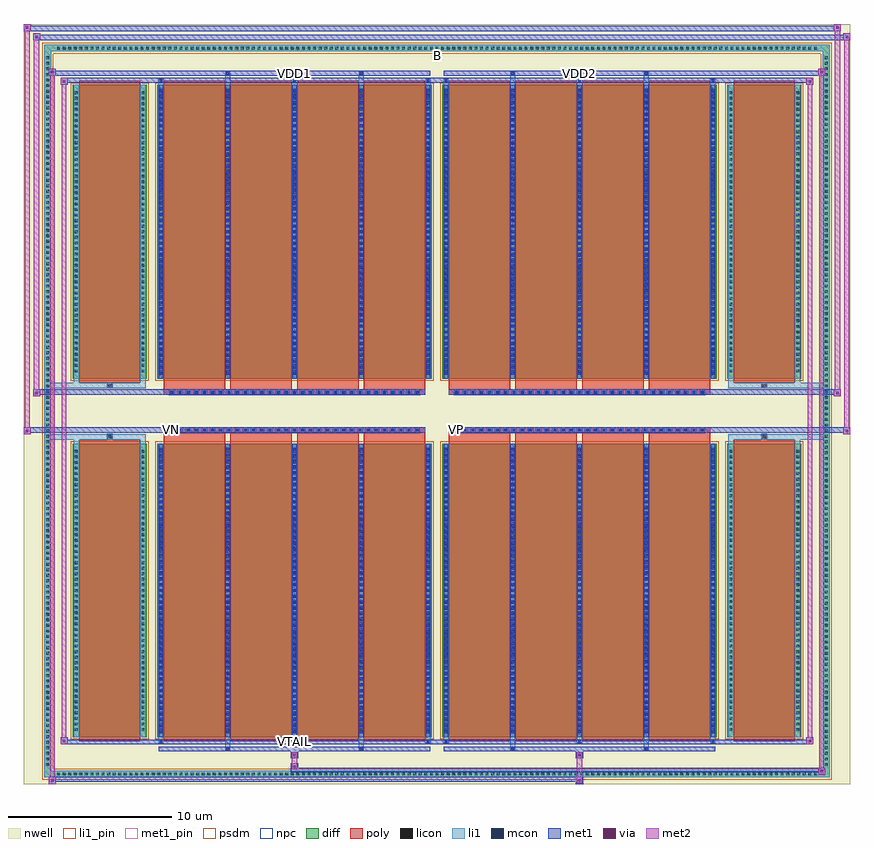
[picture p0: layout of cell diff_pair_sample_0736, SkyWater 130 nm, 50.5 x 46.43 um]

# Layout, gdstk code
import gdstk
lib = gdstk.Library(unit=1e-6, precision=5e-09)
def R(c, l, rs):  # rectangles x0, y0, x1, y1
    for r in rs: c.add(gdstk.rectangle(r[:2], r[2:], *l))
def A(c, l, x, y, w, h, nx, ny, dx, dy):  # array of equal rectangles
    R(c, l, [(x+i*dx, y+j*dy, x+i*dx+w, y+j*dy+h) for i in range(nx) for j in range(ny)])
def P(c, l, *ps):  # polygons
    for p in ps: c.add(gdstk.Polygon(p, *l))
nwell = (64, 20)
diff = (65, 20)
poly = (66, 20)
licon = (66, 44)
li1_pin = (67, 16)
li1 = (67, 20)
mcon = (67, 44)
met1_pin = (68, 16)
met1 = (68, 20)
via = (68, 44)
met2 = (69, 20)
psdm = (94, 20)
npc = (95, 20)

diff_pair_sample_0736 = lib.new_cell('diff_pair_sample_0736')
R(diff_pair_sample_0736, nwell, [(-25.25,-22.78,25.25,23.65), (-22.57,-20.97,-0.01,-0.795), (0.01,-20.97,22.57,-0.795), (-22.57,0.795,-0.01,20.97), (0.01,0.795,22.57,20.97)])
A(diff_pair_sample_0736, diff, -23.325, -22.38, 0.41, 0.41, 137, 2, 0.34, 44.35)
A(diff_pair_sample_0736, diff, -23.98, -21.795, 0.41, 0.41, 1, 128, 0, 0.34)
A(diff_pair_sample_0736, diff, 23.57, -21.795, 0.41, 0.41, 1, 128, 0, 0.34)
R(diff_pair_sample_0736, diff, [(-23.325,-22.38,23.325,-21.97), (-23.98,-21.795,-23.57,21.795), (23.57,-21.795,23.98,21.795), (-22.26,-19.925,-17.73,-1.985), (-17.09,-19.925,-0.32,-1.985), (0.32,-19.925,17.09,-1.985), (17.73,-19.925,22.26,-1.985), (-22.26,1.985,-17.73,19.925), (-17.09,1.985,-0.32,19.925), (0.32,1.985,17.09,19.925), (17.73,1.985,22.26,19.925), (-23.325,21.97,23.325,22.38)])
P(diff_pair_sample_0736, diff, [(23.98,22.38),(-23.98,22.38),(-23.98,-21.97),(-23.57,-21.97),(-23.57,21.97),(23.57,21.97),(23.57,-21.97),(-23.57,-21.97),(-23.98,-21.97),(-23.98,-22.38),(23.98,-22.38)])
A(diff_pair_sample_0736, poly, -16.7, -20.175, 3.75, 18.44, 4, 2, 4.08, 21.91)
A(diff_pair_sample_0736, poly, 0.71, -20.175, 3.75, 18.44, 4, 2, 4.08, 21.91)
A(diff_pair_sample_0736, poly, -16.7, -1.735, 3.75, 0.41, 4, 2, 4.08, 3.06)
A(diff_pair_sample_0736, poly, 0.71, -1.735, 3.75, 0.41, 4, 2, 4.08, 3.06)
A(diff_pair_sample_0736, poly, -16.37, -1.325, 0.33, 0.33, 31, 2, 0.5, 2.32)
A(diff_pair_sample_0736, poly, 1.04, -1.325, 0.33, 0.33, 31, 2, 0.5, 2.32)
R(diff_pair_sample_0736, poly, [(-21.87,-20.175,-18.12,-1.735), (18.12,-20.175,21.87,-1.735), (-20.16,-1.735,-19.83,-1.405), (-20.16,-1.735,-19.83,-1.405), (19.83,-1.735,20.16,-1.405), (19.83,-1.735,20.16,-1.405), (-16.7,-1.325,-0.71,-0.995), (0.71,-1.325,16.7,-0.995), (-16.7,0.995,-0.71,1.325), (0.71,0.995,16.7,1.325), (-20.16,1.405,-19.83,1.735), (-20.16,1.405,-19.83,1.735), (19.83,1.405,20.16,1.735), (19.83,1.405,20.16,1.735), (-21.87,1.735,-18.12,20.175), (18.12,1.735,21.87,20.175)])
A(diff_pair_sample_0736, licon, -23.205, -22.26, 0.17, 0.17, 137, 2, 0.34, 44.35)
A(diff_pair_sample_0736, licon, -23.86, -21.675, 0.17, 0.17, 1, 128, 0, 0.34)
A(diff_pair_sample_0736, licon, 23.69, -21.675, 0.17, 0.17, 1, 128, 0, 0.34)
A(diff_pair_sample_0736, licon, -22.12, -19.54, 0.17, 0.17, 1, 51, 0, 0.34)
A(diff_pair_sample_0736, licon, -18.04, -19.54, 0.17, 0.17, 1, 51, 0, 0.34)
A(diff_pair_sample_0736, licon, -16.95, -19.54, 0.17, 0.17, 5, 51, 4.08, 0.34)
A(diff_pair_sample_0736, licon, 0.46, -19.54, 0.17, 0.17, 5, 51, 4.08, 0.34)
A(diff_pair_sample_0736, licon, 17.87, -19.54, 0.17, 0.17, 1, 51, 0, 0.34)
A(diff_pair_sample_0736, licon, 21.95, -19.54, 0.17, 0.17, 1, 51, 0, 0.34)
A(diff_pair_sample_0736, licon, -16.29, -1.245, 0.17, 0.17, 31, 2, 0.5, 2.32)
A(diff_pair_sample_0736, licon, 1.12, -1.245, 0.17, 0.17, 31, 2, 0.5, 2.32)
A(diff_pair_sample_0736, licon, -22.12, 2.37, 0.17, 0.17, 1, 51, 0, 0.34)
A(diff_pair_sample_0736, licon, -18.04, 2.37, 0.17, 0.17, 1, 51, 0, 0.34)
A(diff_pair_sample_0736, licon, -16.95, 2.37, 0.17, 0.17, 5, 51, 4.08, 0.34)
A(diff_pair_sample_0736, licon, 0.46, 2.37, 0.17, 0.17, 5, 51, 4.08, 0.34)
A(diff_pair_sample_0736, licon, 17.87, 2.37, 0.17, 0.17, 1, 51, 0, 0.34)
A(diff_pair_sample_0736, licon, 21.95, 2.37, 0.17, 0.17, 1, 51, 0, 0.34)
R(diff_pair_sample_0736, licon, [(-20.08,-1.655,-19.91,-1.485), (19.91,-1.655,20.08,-1.485), (-20.08,1.485,-19.91,1.655), (19.91,1.485,20.08,1.655)])
R(diff_pair_sample_0736, li1_pin, [(-0.25,21.47,0.25,21.97)])
A(diff_pair_sample_0736, li1, -23.285, -22.34, 0.33, 0.33, 137, 2, 0.34, 44.35)
A(diff_pair_sample_0736, li1, -23.94, -21.755, 0.33, 0.33, 1, 128, 0, 0.34)
A(diff_pair_sample_0736, li1, 23.61, -21.755, 0.33, 0.33, 1, 128, 0, 0.34)
A(diff_pair_sample_0736, li1, -17.03, -20.3, 0.33, 0.375, 3, 2, 8.16, 40.225)
A(diff_pair_sample_0736, li1, -16.95, -20.3, 0.17, 0.17, 3, 2, 8.16, 40.43)
A(diff_pair_sample_0736, li1, 0.38, -20.3, 0.33, 0.375, 3, 2, 8.16, 40.225)
A(diff_pair_sample_0736, li1, 0.46, -20.3, 0.17, 0.17, 3, 2, 8.16, 40.43)
A(diff_pair_sample_0736, li1, -17.03, -19.925, 0.33, 17.94, 5, 2, 4.08, 21.91)
A(diff_pair_sample_0736, li1, 0.38, -19.925, 0.33, 17.94, 5, 2, 4.08, 21.91)
A(diff_pair_sample_0736, li1, -16.95, -19.68, 0.17, 0.17, 5, 49, 4.08, 0.36)
A(diff_pair_sample_0736, li1, -16.95, -19.68, 0.17, 17.45, 5, 2, 4.08, 21.91)
A(diff_pair_sample_0736, li1, 0.46, -19.68, 0.17, 0.17, 5, 49, 4.08, 0.36)
A(diff_pair_sample_0736, li1, 0.46, -19.68, 0.17, 17.45, 5, 2, 4.08, 21.91)
A(diff_pair_sample_0736, li1, -22.2, -19.62, 0.33, 0.33, 1, 51, 0, 0.34)
A(diff_pair_sample_0736, li1, -18.12, -19.62, 0.33, 0.33, 1, 51, 0, 0.34)
A(diff_pair_sample_0736, li1, -17.03, -19.62, 0.33, 0.33, 5, 51, 4.08, 0.34)
A(diff_pair_sample_0736, li1, 0.38, -19.62, 0.33, 0.33, 5, 51, 4.08, 0.34)
A(diff_pair_sample_0736, li1, 17.79, -19.62, 0.33, 0.33, 1, 51, 0, 0.34)
A(diff_pair_sample_0736, li1, 21.87, -19.62, 0.33, 0.33, 1, 51, 0, 0.34)
A(diff_pair_sample_0736, li1, -16.37, -1.325, 0.33, 0.33, 31, 2, 0.5, 2.32)
A(diff_pair_sample_0736, li1, 1.04, -1.325, 0.33, 0.33, 31, 2, 0.5, 2.32)
A(diff_pair_sample_0736, li1, -16.95, 2.23, 0.17, 0.17, 5, 49, 4.08, 0.36)
A(diff_pair_sample_0736, li1, 0.46, 2.23, 0.17, 0.17, 5, 49, 4.08, 0.36)
A(diff_pair_sample_0736, li1, -22.2, 2.29, 0.33, 0.33, 1, 51, 0, 0.34)
A(diff_pair_sample_0736, li1, -18.12, 2.29, 0.33, 0.33, 1, 51, 0, 0.34)
A(diff_pair_sample_0736, li1, -17.03, 2.29, 0.33, 0.33, 5, 51, 4.08, 0.34)
A(diff_pair_sample_0736, li1, 0.38, 2.29, 0.33, 0.33, 5, 51, 4.08, 0.34)
A(diff_pair_sample_0736, li1, 17.79, 2.29, 0.33, 0.33, 1, 51, 0, 0.34)
A(diff_pair_sample_0736, li1, 21.87, 2.29, 0.33, 0.33, 1, 51, 0, 0.34)
R(diff_pair_sample_0736, li1, [(-23.98,-22.38,-23.57,-21.97), (-23.98,-22.38,-23.57,-21.97), (-23.57,-22.38,23.57,-21.97), (23.57,-22.38,23.98,-21.97), (23.57,-22.38,23.98,-21.97), (-23.98,-21.97,-23.57,21.97), (23.57,-21.97,23.98,21.97), (-12.95,-20.73,-12.62,-19.925), (-12.87,-20.73,-12.7,-20.56), (-4.79,-20.73,-4.46,-19.925), (-4.71,-20.73,-4.54,-20.56), (4.46,-20.73,4.79,-19.925), (4.54,-20.73,4.71,-20.56), (12.62,-20.73,12.95,-19.925), (12.7,-20.73,12.87,-20.56), (-22.2,-19.925,-21.87,-1.985), (-18.12,-19.925,-17.79,-1.985), (17.79,-19.925,18.12,-1.985), (21.87,-19.925,22.2,-1.985), (-22.2,-1.985,-21.87,-1.405), (-18.12,-1.985,-17.79,-1.405), (17.79,-1.985,18.12,-1.405), (21.87,-1.985,22.2,-1.405), (-23.98,-1.735,-20.16,-1.405), (-22.2,-1.735,-20.16,-1.405), (-20.16,-1.735,-19.83,-1.405), (-19.83,-1.735,-17.79,-1.405), (17.79,-1.735,19.83,-1.405), (19.83,-1.735,20.16,-1.405), (19.83,-1.735,23.98,-1.405), (20.16,-1.735,22.2,-1.405), (-23.98,1.405,-20.16,1.735), (-22.2,1.405,-20.16,1.735), (-22.2,1.405,-21.87,1.985), (-20.16,1.405,-19.83,1.735), (-19.83,1.405,-17.79,1.735), (-18.12,1.405,-17.79,1.985), (17.79,1.405,19.83,1.735), (17.79,1.405,18.12,1.985), (19.83,1.405,20.16,1.735), (19.83,1.405,23.98,1.735), (20.16,1.405,22.2,1.735), (21.87,1.405,22.2,1.985), (-22.2,1.985,-21.87,19.925), (-18.12,1.985,-17.79,19.925), (17.79,1.985,18.12,19.925), (21.87,1.985,22.2,19.925), (-12.95,19.925,-12.62,20.73), (-4.79,19.925,-4.46,20.73), (4.46,19.925,4.79,20.73), (12.62,19.925,12.95,20.73), (-12.87,20.56,-12.7,20.73), (-4.71,20.56,-4.54,20.73), (4.54,20.56,4.71,20.73), (12.7,20.56,12.87,20.73), (-23.98,21.97,-23.57,22.38), (-23.98,21.97,-23.57,22.38), (-23.57,21.97,23.57,22.38), (23.57,21.97,23.98,22.38), (23.57,21.97,23.98,22.38)])
A(diff_pair_sample_0736, mcon, -16.95, -20.3, 0.17, 0.17, 3, 2, 8.16, 40.43)
A(diff_pair_sample_0736, mcon, 0.46, -20.3, 0.17, 0.17, 3, 2, 8.16, 40.43)
A(diff_pair_sample_0736, mcon, -16.95, -19.68, 0.17, 0.17, 5, 49, 4.08, 0.36)
A(diff_pair_sample_0736, mcon, 0.46, -19.68, 0.17, 0.17, 5, 49, 4.08, 0.36)
A(diff_pair_sample_0736, mcon, -16.29, -1.245, 0.17, 0.17, 31, 2, 0.5, 2.32)
A(diff_pair_sample_0736, mcon, 1.12, -1.245, 0.17, 0.17, 31, 2, 0.5, 2.32)
A(diff_pair_sample_0736, mcon, -16.95, 2.23, 0.17, 0.17, 5, 49, 4.08, 0.36)
A(diff_pair_sample_0736, mcon, 0.46, 2.23, 0.17, 0.17, 5, 49, 4.08, 0.36)
R(diff_pair_sample_0736, mcon, [(-12.87,-20.73,-12.7,-20.56), (-4.71,-20.73,-4.54,-20.56), (4.54,-20.73,4.71,-20.56), (12.7,-20.73,12.87,-20.56), (-12.87,20.56,-12.7,20.73), (-4.71,20.56,-4.54,20.73), (4.54,20.56,4.71,20.73), (12.7,20.56,12.87,20.73)])
R(diff_pair_sample_0736, met1_pin, [(-8.84,-20.34,-8.57,-20.07), (-16.34,-1.285,-16.07,-1.015), (1.07,-1.285,1.34,-1.015), (-8.84,20.52,-8.57,20.79), (8.57,20.52,8.84,20.79)])
A(diff_pair_sample_0736, met1, -17.01, -20.36, 0.29, 0.29, 3, 2, 8.16, 40.43)
A(diff_pair_sample_0736, met1, 0.4, -20.36, 0.29, 0.29, 3, 2, 8.16, 40.43)
A(diff_pair_sample_0736, met1, -17.01, -19.925, 0.29, 17.94, 5, 2, 4.08, 21.91)
A(diff_pair_sample_0736, met1, 0.4, -19.925, 0.29, 17.94, 5, 2, 4.08, 21.91)
A(diff_pair_sample_0736, met1, -17.01, -19.74, 0.29, 0.29, 5, 49, 4.08, 0.36)
A(diff_pair_sample_0736, met1, 0.4, -19.74, 0.29, 0.29, 5, 49, 4.08, 0.36)
A(diff_pair_sample_0736, met1, -16.35, -1.305, 0.29, 0.29, 31, 2, 0.5, 2.32)
A(diff_pair_sample_0736, met1, 1.06, -1.305, 0.29, 0.29, 31, 2, 0.5, 2.32)
A(diff_pair_sample_0736, met1, -17.01, 2.17, 0.29, 0.29, 5, 49, 4.08, 0.36)
A(diff_pair_sample_0736, met1, 0.4, 2.17, 0.29, 0.29, 5, 49, 4.08, 0.36)
R(diff_pair_sample_0736, met1, [(-23.71,-22.78,-23.28,-22.35), (8.49,-22.78,8.92,-22.35), (-23.71,-22.64,8.92,-22.35), (23.28,-22.21,23.71,-21.78), (-8.92,-22.07,23.71,-21.78), (-8.92,-21.93,-8.49,-21.5), (-8.92,-21.22,-8.49,-20.79), (8.49,-21.22,8.92,-20.79), (-17.01,-20.79,-0.4,-20.5), (-12.93,-20.79,-12.64,-20.5), (-4.77,-20.79,-4.48,-20.5), (0.4,-20.79,17.01,-20.5), (4.48,-20.79,4.77,-20.5), (12.64,-20.79,12.93,-20.5), (-23,-20.36,-22.57,-19.93), (-23,-20.36,-17.01,-20.07), (-17.01,-20.36,-0.4,-20.07), (-0.4,-20.36,0.4,-20.07), (0.4,-20.36,17.01,-20.07), (17.01,-20.36,23,-20.07), (22.57,-20.36,23,-19.93), (-25.25,-1.425,-24.82,-0.995), (24.82,-1.425,25.25,-0.995), (-25.25,-1.325,-0.71,-0.995), (-16.7,-1.325,-0.71,-0.995), (0.71,-1.325,16.7,-0.995), (0.71,-1.325,25.25,-0.995), (-24.68,0.895,-24.25,1.325), (24.25,0.895,24.68,1.325), (-24.68,0.995,-16.7,1.325), (-16.7,0.995,-0.71,1.325), (0.71,0.995,16.7,1.325), (16.7,0.995,24.68,1.325), (-23,19.93,-22.57,20.36), (22.57,19.93,23,20.36), (-23,20.07,-17.01,20.36), (-17.01,20.07,-0.4,20.36), (-0.4,20.07,0.4,20.36), (0.4,20.07,17.01,20.36), (17.01,20.07,23,20.36), (-23.71,20.5,-23.28,20.93), (-23.71,20.5,-17.01,20.79), (-17.01,20.5,-0.4,20.79), (-12.93,20.5,-12.64,20.79), (-4.77,20.5,-4.48,20.79), (0.4,20.5,17.01,20.79), (4.48,20.5,4.77,20.79), (12.64,20.5,12.93,20.79), (17.01,20.5,23.71,20.79), (23.28,20.5,23.71,20.93), (-24.68,22.65,-24.25,23.08), (-24.68,22.65,-22.57,22.98), (-22.57,22.65,22.57,22.98), (22.57,22.65,25.25,22.98), (24.82,22.65,25.25,23.08), (-25.25,23.22,-24.82,23.65), (-25.25,23.22,-22.57,23.55), (-22.57,23.22,22.57,23.55), (22.57,23.22,24.68,23.55), (24.25,23.22,24.68,23.65)])
R(diff_pair_sample_0736, via, [(-23.57,-22.64,-23.42,-22.49), (8.63,-22.64,8.78,-22.49), (23.42,-22.07,23.57,-21.92), (-8.78,-21.79,-8.63,-21.64), (-8.78,-21.08,-8.63,-20.93), (8.63,-21.08,8.78,-20.93), (-22.86,-20.22,-22.71,-20.07), (22.71,-20.22,22.86,-20.07), (-25.11,-1.285,-24.96,-1.135), (24.96,-1.285,25.11,-1.135), (-24.54,1.035,-24.39,1.185), (24.39,1.035,24.54,1.185), (-22.86,20.07,-22.71,20.22), (22.71,20.07,22.86,20.22), (-23.57,20.64,-23.42,20.79), (23.42,20.64,23.57,20.79), (-24.54,22.79,-24.39,22.94), (24.96,22.79,25.11,22.94), (-25.11,23.36,-24.96,23.51), (24.39,23.36,24.54,23.51)])
R(diff_pair_sample_0736, met2, [(-23.71,-22.78,-23.28,-22.35), (-23.64,-22.78,-23.35,20.93), (-23.35,-22.78,-23.28,-22.35), (-23.66,-22.73,-23.33,-22.4), (8.54,-22.73,8.87,-22.4), (8.54,-22.4,8.87,-21.17), (23.28,-22.21,23.71,-21.78), (23.35,-22.21,23.64,20.93), (23.64,-22.21,23.71,-21.78), (23.33,-22.16,23.66,-21.83), (-8.87,-21.88,-8.54,-21.55), (-8.87,-21.55,-8.54,-21.17), (-8.87,-21.17,-8.54,-20.84), (8.54,-21.17,8.87,-20.84), (-23,-20.36,-22.57,-19.93), (-22.93,-20.36,-22.64,20.36), (-22.64,-20.36,-22.57,-19.93), (22.57,-20.36,23,-19.93), (22.64,-20.36,22.93,20.36), (22.93,-20.36,23,-19.93), (-22.95,-20.31,-22.62,-19.98), (22.62,-20.31,22.95,-19.98), (-25.25,-1.425,-24.82,-0.995), (-25.2,-1.425,-24.87,23.65), (-24.87,-1.425,-24.82,-0.995), (24.82,-1.425,25.25,-0.995), (24.87,-1.425,25.2,23.08), (25.2,-1.425,25.25,-0.995), (-25.2,-1.375,-24.87,-1.045), (24.87,-1.375,25.2,-1.045), (-24.68,0.895,-24.25,1.325), (-24.63,0.895,-24.3,23.08), (-24.3,0.895,-24.25,1.325), (24.25,0.895,24.68,1.325), (24.3,0.895,24.63,23.65), (24.63,0.895,24.68,1.325), (-24.63,0.945,-24.3,1.275), (24.3,0.945,24.63,1.275), (-23,19.93,-22.57,20.36), (-22.64,19.93,-22.57,20.36), (22.57,19.93,23,20.36), (22.93,19.93,23,20.36), (-22.95,19.98,-22.62,20.31), (22.62,19.98,22.95,20.31), (-23.71,20.5,-23.28,20.93), (-23.35,20.5,-23.28,20.93), (23.28,20.5,23.71,20.93), (23.64,20.5,23.71,20.93), (-23.66,20.55,-23.33,20.88), (23.33,20.55,23.66,20.88), (-24.68,22.65,-24.25,23.08), (-24.3,22.65,-24.25,23.08), (24.82,22.65,25.25,23.08), (25.2,22.65,25.25,23.08), (-24.63,22.7,-24.3,23.03), (24.87,22.7,25.2,23.03), (-25.25,23.22,-24.82,23.65), (-24.87,23.22,-24.82,23.65), (24.25,23.22,24.68,23.65), (24.63,23.22,24.68,23.65), (-25.2,23.27,-24.87,23.6), (24.3,23.27,24.63,23.6)])
R(diff_pair_sample_0736, psdm, [(-22.39,-20.055,-17.6,-1.855), (-17.22,-20.055,-0.19,-1.855), (0.19,-20.055,17.22,-1.855), (17.6,-20.055,22.39,-1.855), (-22.39,1.855,-17.6,20.055), (-17.22,1.855,-0.19,20.055), (0.19,1.855,17.22,20.055), (17.6,1.855,22.39,20.055)])
P(diff_pair_sample_0736, psdm, [(24.11,22.51),(-24.11,22.51),(-24.11,-21.84),(-23.44,-21.84),(-23.44,21.84),(23.44,21.84),(23.44,-21.84),(-23.44,-21.84),(-24.11,-21.84),(-24.11,-22.51),(24.11,-22.51)])
A(diff_pair_sample_0736, npc, -16.39, -1.345, 0.37, 0.37, 31, 2, 0.5, 2.32)
A(diff_pair_sample_0736, npc, 1.02, -1.345, 0.37, 0.37, 31, 2, 0.5, 2.32)
R(diff_pair_sample_0736, npc, [(-20.18,-1.755,-19.81,-1.385), (19.81,-1.755,20.18,-1.385), (-16.39,-1.345,-15.52,-0.975), (-16.39,-1.345,-15.52,-0.975), (-15.89,-1.345,-15.02,-0.975), (-15.89,-1.345,-15.02,-0.975), (-15.39,-1.345,-14.52,-0.975), (-15.39,-1.345,-14.52,-0.975), (-14.89,-1.345,-14.02,-0.975), (-14.89,-1.345,-14.02,-0.975), (-14.39,-1.345,-13.52,-0.975), (-14.39,-1.345,-13.52,-0.975), (-13.89,-1.345,-13.02,-0.975), (-13.89,-1.345,-13.02,-0.975), (-13.39,-1.345,-12.52,-0.975), (-13.39,-1.345,-12.52,-0.975), (-12.89,-1.345,-12.02,-0.975), (-12.89,-1.345,-12.02,-0.975), (-12.39,-1.345,-11.52,-0.975), (-12.39,-1.345,-11.52,-0.975), (-11.89,-1.345,-11.02,-0.975), (-11.89,-1.345,-11.02,-0.975), (-11.39,-1.345,-10.52,-0.975), (-11.39,-1.345,-10.52,-0.975), (-10.89,-1.345,-10.02,-0.975), (-10.89,-1.345,-10.02,-0.975), (-10.39,-1.345,-9.52,-0.975), (-10.39,-1.345,-9.52,-0.975), (-9.89,-1.345,-9.02,-0.975), (-9.89,-1.345,-9.02,-0.975), (-9.39,-1.345,-8.52,-0.975), (-9.39,-1.345,-8.52,-0.975), (-8.89,-1.345,-8.02,-0.975), (-8.89,-1.345,-8.02,-0.975), (-8.39,-1.345,-7.52,-0.975), (-8.39,-1.345,-7.52,-0.975), (-7.89,-1.345,-7.02,-0.975), (-7.89,-1.345,-7.02,-0.975), (-7.39,-1.345,-6.52,-0.975), (-7.39,-1.345,-6.52,-0.975), (-6.89,-1.345,-6.02,-0.975), (-6.89,-1.345,-6.02,-0.975), (-6.39,-1.345,-5.52,-0.975), (-6.39,-1.345,-5.52,-0.975), (-5.89,-1.345,-5.02,-0.975), (-5.89,-1.345,-5.02,-0.975), (-5.39,-1.345,-4.52,-0.975), (-5.39,-1.345,-4.52,-0.975), (-4.89,-1.345,-4.02,-0.975), (-4.89,-1.345,-4.02,-0.975), (-4.39,-1.345,-3.52,-0.975), (-4.39,-1.345,-3.52,-0.975), (-3.89,-1.345,-3.02,-0.975), (-3.89,-1.345,-3.02,-0.975), (-3.39,-1.345,-2.52,-0.975), (-3.39,-1.345,-2.52,-0.975), (-2.89,-1.345,-2.02,-0.975), (-2.89,-1.345,-2.02,-0.975), (-2.39,-1.345,-1.52,-0.975), (-2.39,-1.345,-1.52,-0.975), (-1.89,-1.345,-1.02,-0.975), (-1.89,-1.345,-1.02,-0.975), (1.02,-1.345,1.89,-0.975), (1.02,-1.345,1.89,-0.975), (1.52,-1.345,2.39,-0.975), (1.52,-1.345,2.39,-0.975), (2.02,-1.345,2.89,-0.975), (2.02,-1.345,2.89,-0.975), (2.52,-1.345,3.39,-0.975), (2.52,-1.345,3.39,-0.975), (3.02,-1.345,3.89,-0.975), (3.02,-1.345,3.89,-0.975), (3.52,-1.345,4.39,-0.975), (3.52,-1.345,4.39,-0.975), (4.02,-1.345,4.89,-0.975), (4.02,-1.345,4.89,-0.975), (4.52,-1.345,5.39,-0.975), (4.52,-1.345,5.39,-0.975), (5.02,-1.345,5.89,-0.975), (5.02,-1.345,5.89,-0.975), (5.52,-1.345,6.39,-0.975), (5.52,-1.345,6.39,-0.975), (6.02,-1.345,6.89,-0.975), (6.02,-1.345,6.89,-0.975), (6.52,-1.345,7.39,-0.975), (6.52,-1.345,7.39,-0.975), (7.02,-1.345,7.89,-0.975), (7.02,-1.345,7.89,-0.975), (7.52,-1.345,8.39,-0.975), (7.52,-1.345,8.39,-0.975), (8.02,-1.345,8.89,-0.975), (8.02,-1.345,8.89,-0.975), (8.52,-1.345,9.39,-0.975), (8.52,-1.345,9.39,-0.975), (9.02,-1.345,9.89,-0.975), (9.02,-1.345,9.89,-0.975), (9.52,-1.345,10.39,-0.975), (9.52,-1.345,10.39,-0.975), (10.02,-1.345,10.89,-0.975), (10.02,-1.345,10.89,-0.975), (10.52,-1.345,11.39,-0.975), (10.52,-1.345,11.39,-0.975), (11.02,-1.345,11.89,-0.975), (11.02,-1.345,11.89,-0.975), (11.52,-1.345,12.39,-0.975), (11.52,-1.345,12.39,-0.975), (12.02,-1.345,12.89,-0.975), (12.02,-1.345,12.89,-0.975), (12.52,-1.345,13.39,-0.975), (12.52,-1.345,13.39,-0.975), (13.02,-1.345,13.89,-0.975), (13.02,-1.345,13.89,-0.975), (13.52,-1.345,14.39,-0.975), (13.52,-1.345,14.39,-0.975), (14.02,-1.345,14.89,-0.975), (14.02,-1.345,14.89,-0.975), (14.52,-1.345,15.39,-0.975), (14.52,-1.345,15.39,-0.975), (15.02,-1.345,15.89,-0.975), (15.02,-1.345,15.89,-0.975), (15.52,-1.345,16.39,-0.975), (15.52,-1.345,16.39,-0.975), (-16.39,0.975,-15.52,1.345), (-16.39,0.975,-15.52,1.345), (-15.89,0.975,-15.02,1.345), (-15.89,0.975,-15.02,1.345), (-15.39,0.975,-14.52,1.345), (-15.39,0.975,-14.52,1.345), (-14.89,0.975,-14.02,1.345), (-14.89,0.975,-14.02,1.345), (-14.39,0.975,-13.52,1.345), (-14.39,0.975,-13.52,1.345), (-13.89,0.975,-13.02,1.345), (-13.89,0.975,-13.02,1.345), (-13.39,0.975,-12.52,1.345), (-13.39,0.975,-12.52,1.345), (-12.89,0.975,-12.02,1.345), (-12.89,0.975,-12.02,1.345), (-12.39,0.975,-11.52,1.345), (-12.39,0.975,-11.52,1.345), (-11.89,0.975,-11.02,1.345), (-11.89,0.975,-11.02,1.345), (-11.39,0.975,-10.52,1.345), (-11.39,0.975,-10.52,1.345), (-10.89,0.975,-10.02,1.345), (-10.89,0.975,-10.02,1.345), (-10.39,0.975,-9.52,1.345), (-10.39,0.975,-9.52,1.345), (-9.89,0.975,-9.02,1.345), (-9.89,0.975,-9.02,1.345), (-9.39,0.975,-8.52,1.345), (-9.39,0.975,-8.52,1.345), (-8.89,0.975,-8.02,1.345), (-8.89,0.975,-8.02,1.345), (-8.39,0.975,-7.52,1.345), (-8.39,0.975,-7.52,1.345), (-7.89,0.975,-7.02,1.345), (-7.89,0.975,-7.02,1.345), (-7.39,0.975,-6.52,1.345), (-7.39,0.975,-6.52,1.345), (-6.89,0.975,-6.02,1.345), (-6.89,0.975,-6.02,1.345), (-6.39,0.975,-5.52,1.345), (-6.39,0.975,-5.52,1.345), (-5.89,0.975,-5.02,1.345), (-5.89,0.975,-5.02,1.345), (-5.39,0.975,-4.52,1.345), (-5.39,0.975,-4.52,1.345), (-4.89,0.975,-4.02,1.345), (-4.89,0.975,-4.02,1.345), (-4.39,0.975,-3.52,1.345), (-4.39,0.975,-3.52,1.345), (-3.89,0.975,-3.02,1.345), (-3.89,0.975,-3.02,1.345), (-3.39,0.975,-2.52,1.345), (-3.39,0.975,-2.52,1.345), (-2.89,0.975,-2.02,1.345), (-2.89,0.975,-2.02,1.345), (-2.39,0.975,-1.52,1.345), (-2.39,0.975,-1.52,1.345), (-1.89,0.975,-1.02,1.345), (-1.89,0.975,-1.02,1.345), (1.02,0.975,1.89,1.345), (1.02,0.975,1.89,1.345), (1.52,0.975,2.39,1.345), (1.52,0.975,2.39,1.345), (2.02,0.975,2.89,1.345), (2.02,0.975,2.89,1.345), (2.52,0.975,3.39,1.345), (2.52,0.975,3.39,1.345), (3.02,0.975,3.89,1.345), (3.02,0.975,3.89,1.345), (3.52,0.975,4.39,1.345), (3.52,0.975,4.39,1.345), (4.02,0.975,4.89,1.345), (4.02,0.975,4.89,1.345), (4.52,0.975,5.39,1.345), (4.52,0.975,5.39,1.345), (5.02,0.975,5.89,1.345), (5.02,0.975,5.89,1.345), (5.52,0.975,6.39,1.345), (5.52,0.975,6.39,1.345), (6.02,0.975,6.89,1.345), (6.02,0.975,6.89,1.345), (6.52,0.975,7.39,1.345), (6.52,0.975,7.39,1.345), (7.02,0.975,7.89,1.345), (7.02,0.975,7.89,1.345), (7.52,0.975,8.39,1.345), (7.52,0.975,8.39,1.345), (8.02,0.975,8.89,1.345), (8.02,0.975,8.89,1.345), (8.52,0.975,9.39,1.345), (8.52,0.975,9.39,1.345), (9.02,0.975,9.89,1.345), (9.02,0.975,9.89,1.345), (9.52,0.975,10.39,1.345), (9.52,0.975,10.39,1.345), (10.02,0.975,10.89,1.345), (10.02,0.975,10.89,1.345), (10.52,0.975,11.39,1.345), (10.52,0.975,11.39,1.345), (11.02,0.975,11.89,1.345), (11.02,0.975,11.89,1.345), (11.52,0.975,12.39,1.345), (11.52,0.975,12.39,1.345), (12.02,0.975,12.89,1.345), (12.02,0.975,12.89,1.345), (12.52,0.975,13.39,1.345), (12.52,0.975,13.39,1.345), (13.02,0.975,13.89,1.345), (13.02,0.975,13.89,1.345), (13.52,0.975,14.39,1.345), (13.52,0.975,14.39,1.345), (14.02,0.975,14.89,1.345), (14.02,0.975,14.89,1.345), (14.52,0.975,15.39,1.345), (14.52,0.975,15.39,1.345), (15.02,0.975,15.89,1.345), (15.02,0.975,15.89,1.345), (15.52,0.975,16.39,1.345), (15.52,0.975,16.39,1.345), (-20.18,1.385,-19.81,1.755), (19.81,1.385,20.18,1.755)])
diff_pair_sample_0736.add(gdstk.Label('VTAIL', (-8.705,-20.205), layer=68, texttype=5))
diff_pair_sample_0736.add(gdstk.Label('VN', (-16.205,-1.15), layer=68, texttype=5))
diff_pair_sample_0736.add(gdstk.Label('VP', (1.205,-1.15), layer=68, texttype=5))
diff_pair_sample_0736.add(gdstk.Label('B', (0,21.72), layer=67, texttype=5))
diff_pair_sample_0736.add(gdstk.Label('VDD2', (8.705,20.655), layer=68, texttype=5))
diff_pair_sample_0736.add(gdstk.Label('VDD1', (-8.705,20.655), layer=68, texttype=5))

lib.write_gds('diff_pair_sample_0736.gds')
